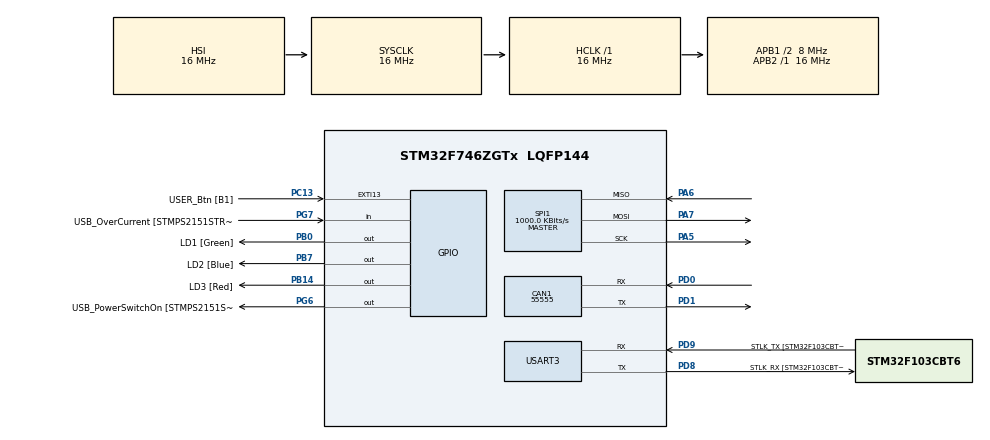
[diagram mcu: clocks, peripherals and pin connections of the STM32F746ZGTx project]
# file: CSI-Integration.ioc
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CAN1.BS1=CAN_BS1_4TQ
CAN1.BS2=CAN_BS2_4TQ
CAN1.CalculateBaudRate=55555
CAN1.CalculateTimeBit=18000
CAN1.CalculateTimeQuantum=2000.0
CAN1.Mode=CAN_MODE_LOOPBACK
Mcu.Family=STM32F7
Mcu.Name=STM32F746ZGTx
Mcu.Package=LQFP144
NVIC.CAN1_RX0_IRQn=true\:0\:0\:false\:false\:true\:true\:true
NVIC.PriorityGroup=NVIC_PRIORITYGROUP_4
PA10.GPIO_Label=USB_ID
PA10.Signal=USB_OTG_FS_ID
PA11.GPIO_Label=USB_DM
PA11.Signal=USB_OTG_FS_DM
PA12.GPIO_Label=USB_DP
PA12.Signal=USB_OTG_FS_DP
PA13.GPIO_Label=TMS
PA13.Signal=SYS_JTMS-SWDIO
PA14.GPIO_Label=TCK
PA14.Signal=SYS_JTCK-SWCLK
PA5.Mode=Full_Duplex_Master
PA5.Signal=SPI1_SCK
PA6.Mode=Full_Duplex_Master
PA6.Signal=SPI1_MISO
PA7.Mode=Full_Duplex_Master
PA7.Signal=SPI1_MOSI
PA8.GPIO_Label=USB_SOF [TP1]
PA8.Signal=USB_OTG_FS_SOF
PA9.GPIO_Label=USB_VBUS
PA9.Signal=USB_OTG_FS_VBUS
PB0.GPIO_Label=LD1 [Green]
PB0.Signal=GPIO_Output
PB13.GPIO_Label=RMII_TXD1 [LAN8742A-CZ-TR_TXD1]
PB13.Signal=ETH_TXD1
PB14.GPIO_Label=LD3 [Red]
PB14.Signal=GPIO_Output
PB3.GPIO_Label=SW0
PB3.Signal=SYS_JTDO-SWO
PB7.GPIO_Label=LD2 [Blue]
PB7.Signal=GPIO_Output
PC1.GPIO_Label=RMII_MDC [LAN8742A-CZ-TR_MDC]
PC1.Signal=ETH_MDC
PC13.GPIO_Label=USER_Btn [B1]
PC13.Signal=GPXTI13
PC14/OSC32_IN.Signal=RCC_OSC32_IN
PC15/OSC32_OUT.Signal=RCC_OSC32_OUT
PD0.Mode=CAN_Activate
PD0.Signal=CAN1_RX
PD1.Mode=CAN_Activate
PD1.Signal=CAN1_TX
PD8.GPIO_Label=STLK_RX [STM32F103CBT6_PA3]
PD8.Mode=Asynchronous
PD8.Signal=USART3_TX
PD9.GPIO_Label=STLK_TX [STM32F103CBT6_PA2]
PD9.Mode=Asynchronous
PD9.Signal=USART3_RX
PG11.GPIO_Label=RMII_TX_EN [LAN8742A-CZ-TR_TXEN]
PG11.Signal=ETH_TX_EN
PG13.GPIO_Label=RMII_TXD0 [LAN8742A-CZ-TR_TXD0]
PG13.Signal=ETH_TXD0
PG6.GPIO_Label=USB_PowerSwitchOn [STMPS2151STR_EN]
PG6.Signal=GPIO_Output
PG7.GPIO_Label=USB_OverCurrent [STMPS2151STR_FAULT]
PG7.Signal=GPIO_Input
PH0/OSC_IN.GPIO_Label=MCO [STM32F103CBT6_PA8]
PH0/OSC_IN.Mode=HSE-External-Oscillator
PH0/OSC_IN.Signal=RCC_OSC_IN
PH1/OSC_OUT.Mode=HSE-External-Oscillator
PH1/OSC_OUT.Signal=RCC_OSC_OUT
ProjectManager.HeapSize=0x200
ProjectManager.StackSize=0x400
ProjectManager.TargetToolchain=STM32CubeIDE
RCC.48MHZClocksFreq_Value=24000000
RCC.AHBFreq_Value=16000000
RCC.APB1CLKDivider=RCC_HCLK_DIV2
RCC.APB1Freq_Value=8000000
RCC.APB1TimFreq_Value=16000000
RCC.APB2Freq_Value=16000000
RCC.APB2TimFreq_Value=16000000
RCC.CortexFreq_Value=16000000
RCC.HCLKFreq_Value=16000000
RCC.HSE_VALUE=8000000
RCC.HSI_VALUE=16000000
RCC.LSE_VALUE=32768
RCC.PLLMUL=RCC_PLL_MUL9
RCC.PRESCALERUSB=RCC_USBCLKSOURCE_PLL_DIV1_5
RCC.SYSCLKFreq_VALUE=16000000
RCC.SYSCLKSourceVirtual=RCC_SYSCLKSOURCE_PLLCLK
RCC.USBFreq_Value=96000000
RCC.VCOOutputFreq_Value=192000000
SPI1.BaudRatePrescaler=SPI_BAUDRATEPRESCALER_16
SPI1.CalculateBaudRate=1000.0 KBits/s
SPI1.DataSize=SPI_DATASIZE_8BIT
SPI1.Direction=SPI_DIRECTION_2LINES
SPI1.Mode=SPI_MODE_MASTER
SPI1.NSSPMode=SPI_NSS_PULSE_DISABLE
SPI1.VirtualType=VM_MASTER
USART3.VirtualMode-Asynchronous=VM_ASYNC
board=NUCLEO-F746ZG

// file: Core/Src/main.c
/* USER CODE BEGIN Header */
/**
  ******************************************************************************
  * @file           : main.c
  * @brief          : Main program body
  ******************************************************************************
  * @attention
  *
  * Copyright (c) 2022 STMicroelectronics.
  * All rights reserved.
  *
  * This software is licensed under terms that can be found in the LICENSE file
  * in the root directory of this software component.
  * If no LICENSE file comes with this software, it is provided AS-IS.
  *
  ******************************************************************************
  */
/* USER CODE END Header */
#include "main.h"

/* USER CODE BEGIN Includes */
#include "global.h"
#include "FIFO.h"
#include "CAN_Driver.h"
//#include "CAN_Driver.h"
/* USER CODE END Includes */

CAN_HandleTypeDef hcan1;

SPI_HandleTypeDef hspi1;

UART_HandleTypeDef huart3;

void SystemClock_Config(void);
static void MX_GPIO_Init(void);
static void MX_CAN1_Init(void);
static void MX_SPI1_Init(void);
static void MX_USART3_UART_Init(void);

/* USER CODE BEGIN 0 */
CAN_TxHeaderTypeDef TxHeader;
CAN_RxHeaderTypeDef RxHeader;

uint32_t TxMailbox = 0x00;

uint8_t TxData[8] = {0};
uint8_t RxData[8] = {0};

uint8_t count = 0;

void HAL_CAN_RxFifo0MsgPendingCallback(CAN_HandleTypeDef *hcan1)
{
	HAL_CAN_GetRxMessage(hcan1, CAN_RX_FIFO0, &RxHeader, RxData);
	count++;
}//test code for loopback mode

/* USER CODE END 0 */

int main(void)
{

  /* MCU Configuration--------------------------------------------------------*/

  /* Reset of all peripherals, Initializes the Flash interface and the Systick. */
  HAL_Init();

  /* Configure the system clock */
  SystemClock_Config();

  /* Initialize all configured peripherals */
  MX_GPIO_Init();
  MX_CAN1_Init();
  MX_SPI1_Init();
  MX_USART3_UART_Init();
  /* USER CODE BEGIN 2 */

// setting up the CAN frame
  /*
  TxHeader.DLC = 8; // bye in length, 8 bytes stated in line 94(CAN_Driver.c)
  TxHeader.ExtId = 0; // Specifies the extended identifier. This parameter must be a number between Min_Data = 0 and Max_Data = 0x1FFFFFFF.
  TxHeader.IDE = CAN_ID_STD; // set the identifier to standard
  TxHeader.RTR = CAN_RTR_DATA; // set to allow for remote transmission requests
  TxHeader.StdId = 0x100; // set the standard identifier to 256 (Field Nodes cannot access anything higher than 255 for their addresses)
*/

  HAL_CAN_Start(&hcan1); // start communicating with CANBUS and cant reconfigure CAN settings

  /*ENABLE INTERRUPTS*/
  HAL_CAN_ActivateNotification(&hcan1, CAN_IT_RX_FIFO0_MSG_PENDING);

  //from can_driver.c
 struct_CAN_Message test = {0};
 test.CAN_ID = 0x01;
 //test.CAN_Word1 = 0x10;
 test.CAN_Word3 = 0X10;
 test.CAN_Word5 = 'c';
 //TxData[0] = 0xff;
 //TxData[1] = 0x01;
 send_CAN(test);

   // TxData[0] = 0x01;
   // TxData[1] = 0x02;
  //  TxData[2] = 0x03;
   // TxData[3] = 0x04;
  //  TxData[0] = 0xf3;
   // TxData[1] = (uint8_t *)ID_CONFIG_CSI;
    //send message through CAN
   // HAL_CAN_AddTxMessage(&hcan1, &TxHeader, TxData, &TxMailbox); //Add a message to the first free Tx mailbox and activate the corresponding transmission request

  /* USER CODE END 2 */

  /* Infinite loop */
  while (1)
  {

  }
}

void SystemClock_Config(void)
{
  RCC_OscInitTypeDef RCC_OscInitStruct = {0};
  RCC_ClkInitTypeDef RCC_ClkInitStruct = {0};

  /** Configure the main internal regulator output voltage
  */
  __HAL_RCC_PWR_CLK_ENABLE();
  __HAL_PWR_VOLTAGESCALING_CONFIG(PWR_REGULATOR_VOLTAGE_SCALE3);
  /** Initializes the RCC Oscillators according to the specified parameters
  * in the RCC_OscInitTypeDef structure.
  */
  RCC_OscInitStruct.OscillatorType = RCC_OSCILLATORTYPE_HSI;
  RCC_OscInitStruct.HSIState = RCC_HSI_ON;
  RCC_OscInitStruct.HSICalibrationValue = RCC_HSICALIBRATION_DEFAULT;
  RCC_OscInitStruct.PLL.PLLState = RCC_PLL_NONE;
  if (HAL_RCC_OscConfig(&RCC_OscInitStruct) != HAL_OK)
  {
    Error_Handler();
  }
  /** Initializes the CPU, AHB and APB buses clocks
  */
  RCC_ClkInitStruct.ClockType = RCC_CLOCKTYPE_HCLK|RCC_CLOCKTYPE_SYSCLK
                              |RCC_CLOCKTYPE_PCLK1|RCC_CLOCKTYPE_PCLK2;
  RCC_ClkInitStruct.SYSCLKSource = RCC_SYSCLKSOURCE_HSI;
  RCC_ClkInitStruct.AHBCLKDivider = RCC_SYSCLK_DIV1;
  RCC_ClkInitStruct.APB1CLKDivider = RCC_HCLK_DIV2;
  RCC_ClkInitStruct.APB2CLKDivider = RCC_HCLK_DIV1;

  if (HAL_RCC_ClockConfig(&RCC_ClkInitStruct, FLASH_LATENCY_0) != HAL_OK)
  {
    Error_Handler();
  }
}

static void MX_CAN1_Init(void)
{

  hcan1.Instance = CAN1;
  hcan1.Init.Prescaler = 16;
  hcan1.Init.Mode = CAN_MODE_LOOPBACK;
  hcan1.Init.SyncJumpWidth = CAN_SJW_1TQ;
  hcan1.Init.TimeSeg1 = CAN_BS1_4TQ;
  hcan1.Init.TimeSeg2 = CAN_BS2_4TQ;
  hcan1.Init.TimeTriggeredMode = DISABLE;
  hcan1.Init.AutoBusOff = DISABLE;
  hcan1.Init.AutoWakeUp = DISABLE;
  hcan1.Init.AutoRetransmission = DISABLE;
  hcan1.Init.ReceiveFifoLocked = DISABLE;
  hcan1.Init.TransmitFifoPriority = DISABLE;
  if (HAL_CAN_Init(&hcan1) != HAL_OK)
  {
    Error_Handler();
  }
  /* USER CODE BEGIN CAN1_Init 2 */

  CAN_FilterTypeDef canfilterconfig;

  //configuring CAN Filter
    canfilterconfig.FilterActivation = ENABLE;
    canfilterconfig.FilterBank = 0;  // anything between 0 to SlaveStartFilterBank
    									/*!< Specifies the filter bank which will be initialized.
                                           For single CAN instance(14 dedicated filter banks),
                                           this parameter must be a number between Min_Data = 0 and Max_Data = 13.
                                           For dual CAN instances(28 filter banks shared),
                                           this parameter must be a number between Min_Data = 0 and Max_Data = 27. */
    canfilterconfig.FilterFIFOAssignment = CAN_FILTER_FIFO0;
    canfilterconfig.FilterIdHigh = 0x255; // highest ID allowed through the filter
    canfilterconfig.FilterIdLow = 0x0000; // lowest ID allowed through the filter
    canfilterconfig.FilterMaskIdHigh = 0x00; // mask bits that apply to address
    canfilterconfig.FilterMaskIdLow = 0x00;
    canfilterconfig.FilterMode = CAN_FILTERMODE_IDMASK;
    canfilterconfig.FilterScale = CAN_FILTERSCALE_32BIT;
    canfilterconfig.SlaveStartFilterBank = 10;  /*  Select the start filter bank for the slave CAN instance.  For single CAN instances, this parameter is meaningless.
    												For dual CAN instances, all filter banks with lower index are assigned to master
    												CAN instance, whereas all filter banks with greater index are assigned to slave CAN instance.
    												This parameter must be a number between Min_Data = 0 and Max_Data = 27.
     	 	 	 	 	 	 	 	 	 	 	 */

HAL_CAN_ConfigFilter(&hcan1, &canfilterconfig);

  /* USER CODE END CAN1_Init 2 */

}

static void MX_SPI1_Init(void)
{

  /* SPI1 parameter configuration*/
  hspi1.Instance = SPI1;
  hspi1.Init.Mode = SPI_MODE_MASTER;
  hspi1.Init.Direction = SPI_DIRECTION_2LINES;
  hspi1.Init.DataSize = SPI_DATASIZE_8BIT;
  hspi1.Init.CLKPolarity = SPI_POLARITY_LOW;
  hspi1.Init.CLKPhase = SPI_PHASE_1EDGE;
  hspi1.Init.NSS = SPI_NSS_SOFT;
  hspi1.Init.BaudRatePrescaler = SPI_BAUDRATEPRESCALER_16;
  hspi1.Init.FirstBit = SPI_FIRSTBIT_MSB;
  hspi1.Init.TIMode = SPI_TIMODE_DISABLE;
  hspi1.Init.CRCCalculation = SPI_CRCCALCULATION_DISABLE;
  hspi1.Init.CRCPolynomial = 7;
  hspi1.Init.CRCLength = SPI_CRC_LENGTH_DATASIZE;
  hspi1.Init.NSSPMode = SPI_NSS_PULSE_DISABLE;
  if (HAL_SPI_Init(&hspi1) != HAL_OK)
  {
    Error_Handler();
  }

}

static void MX_USART3_UART_Init(void)
{

  huart3.Instance = USART3;
  huart3.Init.BaudRate = 115200;
  huart3.Init.WordLength = UART_WORDLENGTH_8B;
  huart3.Init.StopBits = UART_STOPBITS_1;
  huart3.Init.Parity = UART_PARITY_NONE;
  huart3.Init.Mode = UART_MODE_TX_RX;
  huart3.Init.HwFlowCtl = UART_HWCONTROL_NONE;
  huart3.Init.OverSampling = UART_OVERSAMPLING_16;
  huart3.Init.OneBitSampling = UART_ONE_BIT_SAMPLE_DISABLE;
  huart3.AdvancedInit.AdvFeatureInit = UART_ADVFEATURE_NO_INIT;
  if (HAL_UART_Init(&huart3) != HAL_OK)
  {
    Error_Handler();
  }

}

static void MX_GPIO_Init(void)
{
  GPIO_InitTypeDef GPIO_InitStruct = {0};

  /* GPIO Ports Clock Enable */
  __HAL_RCC_GPIOC_CLK_ENABLE();
  __HAL_RCC_GPIOH_CLK_ENABLE();
  __HAL_RCC_GPIOA_CLK_ENABLE();
  __HAL_RCC_GPIOB_CLK_ENABLE();
  __HAL_RCC_GPIOD_CLK_ENABLE();
  __HAL_RCC_GPIOG_CLK_ENABLE();

  /*Configure GPIO pin Output Level */
  HAL_GPIO_WritePin(GPIOB, LD1_Pin|LD3_Pin|LD2_Pin, GPIO_PIN_RESET);

  /*Configure GPIO pin Output Level */
  HAL_GPIO_WritePin(USB_PowerSwitchOn_GPIO_Port, USB_PowerSwitchOn_Pin, GPIO_PIN_RESET);

  /*Configure GPIO pin : USER_Btn_Pin */
  GPIO_InitStruct.Pin = USER_Btn_Pin;
  GPIO_InitStruct.Mode = GPIO_MODE_IT_RISING;
  GPIO_InitStruct.Pull = GPIO_NOPULL;
  HAL_GPIO_Init(USER_Btn_GPIO_Port, &GPIO_InitStruct);

  /*Configure GPIO pin : RMII_MDC_Pin */
  GPIO_InitStruct.Pin = RMII_MDC_Pin;
  GPIO_InitStruct.Mode = GPIO_MODE_AF_PP;
  GPIO_InitStruct.Pull = GPIO_NOPULL;
  GPIO_InitStruct.Speed = GPIO_SPEED_FREQ_VERY_HIGH;
  GPIO_InitStruct.Alternate = GPIO_AF11_ETH;
  HAL_GPIO_Init(RMII_MDC_GPIO_Port, &GPIO_InitStruct);

  /*Configure GPIO pins : LD1_Pin LD3_Pin LD2_Pin */
  GPIO_InitStruct.Pin = LD1_Pin|LD3_Pin|LD2_Pin;
  GPIO_InitStruct.Mode = GPIO_MODE_OUTPUT_PP;
  GPIO_InitStruct.Pull = GPIO_NOPULL;
  GPIO_InitStruct.Speed = GPIO_SPEED_FREQ_LOW;
  HAL_GPIO_Init(GPIOB, &GPIO_InitStruct);

  /*Configure GPIO pin : RMII_TXD1_Pin */
  GPIO_InitStruct.Pin = RMII_TXD1_Pin;
  GPIO_InitStruct.Mode = GPIO_MODE_AF_PP;
  GPIO_InitStruct.Pull = GPIO_NOPULL;
  GPIO_InitStruct.Speed = GPIO_SPEED_FREQ_VERY_HIGH;
  GPIO_InitStruct.Alternate = GPIO_AF11_ETH;
  HAL_GPIO_Init(RMII_TXD1_GPIO_Port, &GPIO_InitStruct);

  /*Configure GPIO pin : USB_PowerSwitchOn_Pin */
  GPIO_InitStruct.Pin = USB_PowerSwitchOn_Pin;
  GPIO_InitStruct.Mode = GPIO_MODE_OUTPUT_PP;
  GPIO_InitStruct.Pull = GPIO_NOPULL;
  GPIO_InitStruct.Speed = GPIO_SPEED_FREQ_LOW;
  HAL_GPIO_Init(USB_PowerSwitchOn_GPIO_Port, &GPIO_InitStruct);

  /*Configure GPIO pin : USB_OverCurrent_Pin */
  GPIO_InitStruct.Pin = USB_OverCurrent_Pin;
  GPIO_InitStruct.Mode = GPIO_MODE_INPUT;
  GPIO_InitStruct.Pull = GPIO_NOPULL;
  HAL_GPIO_Init(USB_OverCurrent_GPIO_Port, &GPIO_InitStruct);

  /*Configure GPIO pins : USB_SOF_Pin USB_ID_Pin USB_DM_Pin USB_DP_Pin */
  GPIO_InitStruct.Pin = USB_SOF_Pin|USB_ID_Pin|USB_DM_Pin|USB_DP_Pin;
  GPIO_InitStruct.Mode = GPIO_MODE_AF_PP;
  GPIO_InitStruct.Pull = GPIO_NOPULL;
  GPIO_InitStruct.Speed = GPIO_SPEED_FREQ_VERY_HIGH;
  GPIO_InitStruct.Alternate = GPIO_AF10_OTG_FS;
  HAL_GPIO_Init(GPIOA, &GPIO_InitStruct);

  /*Configure GPIO pin : USB_VBUS_Pin */
  GPIO_InitStruct.Pin = USB_VBUS_Pin;
  GPIO_InitStruct.Mode = GPIO_MODE_INPUT;
  GPIO_InitStruct.Pull = GPIO_NOPULL;
  HAL_GPIO_Init(USB_VBUS_GPIO_Port, &GPIO_InitStruct);

  /*Configure GPIO pins : RMII_TX_EN_Pin RMII_TXD0_Pin */
  GPIO_InitStruct.Pin = RMII_TX_EN_Pin|RMII_TXD0_Pin;
  GPIO_InitStruct.Mode = GPIO_MODE_AF_PP;
  GPIO_InitStruct.Pull = GPIO_NOPULL;
  GPIO_InitStruct.Speed = GPIO_SPEED_FREQ_VERY_HIGH;
  GPIO_InitStruct.Alternate = GPIO_AF11_ETH;
  HAL_GPIO_Init(GPIOG, &GPIO_InitStruct);

}

void Error_Handler(void)
{
  __disable_irq();
  while (1)
  {
  }
}
